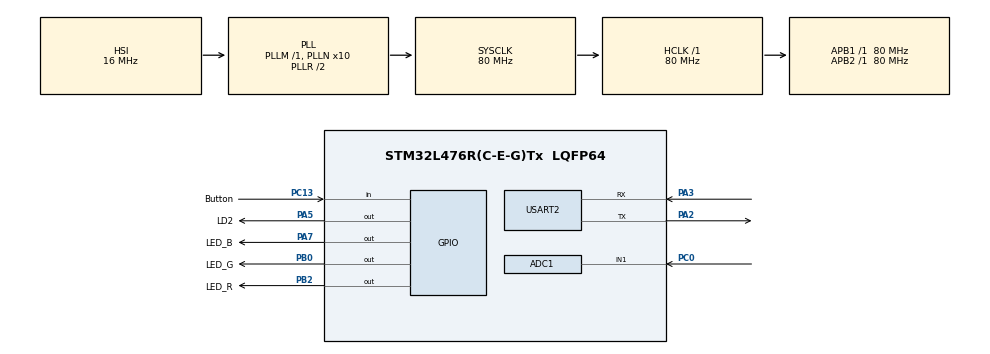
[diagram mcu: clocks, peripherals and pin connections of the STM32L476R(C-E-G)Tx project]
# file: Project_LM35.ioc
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ADC1.Channel-1\#ChannelRegularConversion=ADC_CHANNEL_1
ADC1.ContinuousConvMode=ENABLE
ADC1.NbrOfConversionFlag=1
ADC1.OffsetNumber-1\#ChannelRegularConversion=ADC_OFFSET_NONE
ADC1.Overrun=ADC_OVR_DATA_OVERWRITTEN
ADC1.Rank-1\#ChannelRegularConversion=1
ADC1.SamplingTime-1\#ChannelRegularConversion=ADC_SAMPLETIME_2CYCLES_5
ADC1.master=1
Mcu.Family=STM32L4
Mcu.Name=STM32L476R(C-E-G)Tx
Mcu.Package=LQFP64
NVIC.PriorityGroup=NVIC_PRIORITYGROUP_4
PA2.Mode=Asynchronous
PA2.Signal=USART2_TX
PA3.Mode=Asynchronous
PA3.Signal=USART2_RX
PA5.GPIO_Label=LD2
PA5.Signal=GPIO_Output
PA7.GPIO_Label=LED_B
PA7.Signal=GPIO_Output
PB0.GPIO_Label=LED_G
PB0.Signal=GPIO_Output
PB2.GPIO_Label=LED_R
PB2.Signal=GPIO_Output
PC0.Signal=ADCx_IN1
PC13.GPIO_Label=Button
PC13.Signal=GPIO_Input
ProjectManager.HeapSize=0x200
ProjectManager.StackSize=0x400
ProjectManager.TargetToolchain=STM32CubeIDE
RCC.ADCFreq_Value=32000000
RCC.AHBFreq_Value=80000000
RCC.APB1Freq_Value=80000000
RCC.APB1TimFreq_Value=80000000
RCC.APB2Freq_Value=80000000
RCC.APB2TimFreq_Value=80000000
RCC.CortexFreq_Value=80000000
RCC.HCLKFreq_Value=80000000
RCC.HSE_VALUE=8000000
RCC.HSI_VALUE=16000000
RCC.LSE_VALUE=32768
RCC.MSI_VALUE=4000000
RCC.PLLN=10
RCC.PLLSAI1R=RCC_PLLR_DIV4
RCC.PLLSourceVirtual=RCC_PLLSOURCE_HSI
RCC.PREFETCH_ENABLE=1
RCC.SYSCLKFreq_VALUE=80000000
RCC.SYSCLKSource=RCC_SYSCLKSOURCE_PLLCLK
RCC.USBFreq_Value=64000000
RCC.VCOOutputFreq_Value=160000000
SH.ADCx_IN1.0=ADC1_IN1,IN1-Single-Ended
USART2.VirtualMode-Asynchronous=VM_ASYNC
board=NUCLEO-L476RG

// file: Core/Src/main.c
/* USER CODE BEGIN Header */
/**
  ******************************************************************************
  * @file           : main.c
  * @brief          : Main program body
  ******************************************************************************
  * @attention
  *
  * Copyright (c) 2024 STMicroelectronics.
  * All rights reserved.
  *
  * This software is licensed under terms that can be found in the LICENSE file
  * in the root directory of this software component.
  * If no LICENSE file comes with this software, it is provided AS-IS.
  *
  ******************************************************************************
  */
/* USER CODE END Header */
#include "main.h"

/* USER CODE BEGIN Includes */
#include <stdio.h>
/* USER CODE END Includes */

ADC_HandleTypeDef hadc1;

UART_HandleTypeDef huart2;

void SystemClock_Config(void);
static void MX_GPIO_Init(void);
static void MX_ADC1_Init(void);
static void MX_USART2_UART_Init(void);

/* USER CODE BEGIN 0 */
int __io_putchar(int ch)
{
  if (ch == '\n') {
    __io_putchar('\r');
  }

  HAL_UART_Transmit(&huart2, (uint8_t*)&ch, 1, HAL_MAX_DELAY);

  return 1;
}

void light_info(int tmp){
	if(tmp < 20){
		HAL_GPIO_WritePin(LED_B_GPIO_Port, LED_B_Pin, GPIO_PIN_SET);
		HAL_GPIO_WritePin(LED_G_GPIO_Port, LED_G_Pin, GPIO_PIN_RESET);
		HAL_GPIO_WritePin(LED_R_GPIO_Port, LED_R_Pin, GPIO_PIN_RESET);
	}
	if(tmp < 22 && tmp >= 20){
		HAL_GPIO_WritePin(LED_B_GPIO_Port, LED_B_Pin, GPIO_PIN_RESET);
		HAL_GPIO_WritePin(LED_G_GPIO_Port, LED_G_Pin, GPIO_PIN_SET);
		HAL_GPIO_WritePin(LED_R_GPIO_Port, LED_R_Pin, GPIO_PIN_RESET);
	}
	if(tmp >= 22){
		HAL_GPIO_WritePin(LED_B_GPIO_Port, LED_B_Pin, GPIO_PIN_RESET);
		HAL_GPIO_WritePin(LED_G_GPIO_Port, LED_G_Pin, GPIO_PIN_RESET);
		HAL_GPIO_WritePin(LED_R_GPIO_Port, LED_R_Pin, GPIO_PIN_SET);
	}

}
/* USER CODE END 0 */

int main(void)
{

  /* MCU Configuration--------------------------------------------------------*/

  /* Reset of all peripherals, Initializes the Flash interface and the Systick. */
  HAL_Init();

  /* Configure the system clock */
  SystemClock_Config();

  /* Initialize all configured peripherals */
  MX_GPIO_Init();
  MX_ADC1_Init();
  MX_USART2_UART_Init();
  /* USER CODE BEGIN 2 */
  HAL_ADCEx_Calibration_Start(&hadc1, ADC_SINGLE_ENDED);
  HAL_ADC_Start(&hadc1);
  /* USER CODE END 2 */

  /* Infinite loop */
  /* USER CODE BEGIN WHILE */
  while (1)
  {
	  HAL_ADC_Start(&hadc1);
	  HAL_ADC_PollForConversion(&hadc1, HAL_MAX_DELAY);

	  uint32_t value = HAL_ADC_GetValue(&hadc1);
	  float voltage = 3.3f * value / 4096.0f;
	  float temp = (voltage*1000)/10.24;
	  //printf("ADC = %lu (%.3f V)\n", value, voltage);
	  printf("Temperature: (%.2f C)\n", temp);
	  light_info(temp);
	  HAL_Delay(2000);
    /* USER CODE END WHILE */

  }
}

void SystemClock_Config(void)
{
  RCC_OscInitTypeDef RCC_OscInitStruct = {0};
  RCC_ClkInitTypeDef RCC_ClkInitStruct = {0};

  /** Configure the main internal regulator output voltage
  */
  if (HAL_PWREx_ControlVoltageScaling(PWR_REGULATOR_VOLTAGE_SCALE1) != HAL_OK)
  {
    Error_Handler();
  }

  /** Initializes the RCC Oscillators according to the specified parameters
  * in the RCC_OscInitTypeDef structure.
  */
  RCC_OscInitStruct.OscillatorType = RCC_OSCILLATORTYPE_HSI;
  RCC_OscInitStruct.HSIState = RCC_HSI_ON;
  RCC_OscInitStruct.HSICalibrationValue = RCC_HSICALIBRATION_DEFAULT;
  RCC_OscInitStruct.PLL.PLLState = RCC_PLL_ON;
  RCC_OscInitStruct.PLL.PLLSource = RCC_PLLSOURCE_HSI;
  RCC_OscInitStruct.PLL.PLLM = 1;
  RCC_OscInitStruct.PLL.PLLN = 10;
  RCC_OscInitStruct.PLL.PLLP = RCC_PLLP_DIV7;
  RCC_OscInitStruct.PLL.PLLQ = RCC_PLLQ_DIV2;
  RCC_OscInitStruct.PLL.PLLR = RCC_PLLR_DIV2;
  if (HAL_RCC_OscConfig(&RCC_OscInitStruct) != HAL_OK)
  {
    Error_Handler();
  }

  /** Initializes the CPU, AHB and APB buses clocks
  */
  RCC_ClkInitStruct.ClockType = RCC_CLOCKTYPE_HCLK|RCC_CLOCKTYPE_SYSCLK
                              |RCC_CLOCKTYPE_PCLK1|RCC_CLOCKTYPE_PCLK2;
  RCC_ClkInitStruct.SYSCLKSource = RCC_SYSCLKSOURCE_PLLCLK;
  RCC_ClkInitStruct.AHBCLKDivider = RCC_SYSCLK_DIV1;
  RCC_ClkInitStruct.APB1CLKDivider = RCC_HCLK_DIV1;
  RCC_ClkInitStruct.APB2CLKDivider = RCC_HCLK_DIV1;

  if (HAL_RCC_ClockConfig(&RCC_ClkInitStruct, FLASH_LATENCY_4) != HAL_OK)
  {
    Error_Handler();
  }
}

static void MX_ADC1_Init(void)
{

  ADC_MultiModeTypeDef multimode = {0};
  ADC_ChannelConfTypeDef sConfig = {0};

  /** Common config
  */
  hadc1.Instance = ADC1;
  hadc1.Init.ClockPrescaler = ADC_CLOCK_ASYNC_DIV1;
  hadc1.Init.Resolution = ADC_RESOLUTION_12B;
  hadc1.Init.DataAlign = ADC_DATAALIGN_RIGHT;
  hadc1.Init.ScanConvMode = ADC_SCAN_DISABLE;
  hadc1.Init.EOCSelection = ADC_EOC_SINGLE_CONV;
  hadc1.Init.LowPowerAutoWait = DISABLE;
  hadc1.Init.ContinuousConvMode = ENABLE;
  hadc1.Init.NbrOfConversion = 1;
  hadc1.Init.DiscontinuousConvMode = DISABLE;
  hadc1.Init.ExternalTrigConv = ADC_SOFTWARE_START;
  hadc1.Init.ExternalTrigConvEdge = ADC_EXTERNALTRIGCONVEDGE_NONE;
  hadc1.Init.DMAContinuousRequests = DISABLE;
  hadc1.Init.Overrun = ADC_OVR_DATA_OVERWRITTEN;
  hadc1.Init.OversamplingMode = DISABLE;
  if (HAL_ADC_Init(&hadc1) != HAL_OK)
  {
    Error_Handler();
  }

  /** Configure the ADC multi-mode
  */
  multimode.Mode = ADC_MODE_INDEPENDENT;
  if (HAL_ADCEx_MultiModeConfigChannel(&hadc1, &multimode) != HAL_OK)
  {
    Error_Handler();
  }

  /** Configure Regular Channel
  */
  sConfig.Channel = ADC_CHANNEL_1;
  sConfig.Rank = ADC_REGULAR_RANK_1;
  sConfig.SamplingTime = ADC_SAMPLETIME_2CYCLES_5;
  sConfig.SingleDiff = ADC_SINGLE_ENDED;
  sConfig.OffsetNumber = ADC_OFFSET_NONE;
  sConfig.Offset = 0;
  if (HAL_ADC_ConfigChannel(&hadc1, &sConfig) != HAL_OK)
  {
    Error_Handler();
  }

}

static void MX_USART2_UART_Init(void)
{

  huart2.Instance = USART2;
  huart2.Init.BaudRate = 115200;
  huart2.Init.WordLength = UART_WORDLENGTH_8B;
  huart2.Init.StopBits = UART_STOPBITS_1;
  huart2.Init.Parity = UART_PARITY_NONE;
  huart2.Init.Mode = UART_MODE_TX_RX;
  huart2.Init.HwFlowCtl = UART_HWCONTROL_NONE;
  huart2.Init.OverSampling = UART_OVERSAMPLING_16;
  huart2.Init.OneBitSampling = UART_ONE_BIT_SAMPLE_DISABLE;
  huart2.AdvancedInit.AdvFeatureInit = UART_ADVFEATURE_NO_INIT;
  if (HAL_UART_Init(&huart2) != HAL_OK)
  {
    Error_Handler();
  }

}

static void MX_GPIO_Init(void)
{
  GPIO_InitTypeDef GPIO_InitStruct = {0};

  /* GPIO Ports Clock Enable */
  __HAL_RCC_GPIOC_CLK_ENABLE();
  __HAL_RCC_GPIOA_CLK_ENABLE();
  __HAL_RCC_GPIOB_CLK_ENABLE();

  /*Configure GPIO pin Output Level */
  HAL_GPIO_WritePin(GPIOA, LD2_Pin|LED_B_Pin, GPIO_PIN_RESET);

  /*Configure GPIO pin Output Level */
  HAL_GPIO_WritePin(GPIOB, LED_G_Pin|LED_R_Pin, GPIO_PIN_RESET);

  /*Configure GPIO pin : Button_Pin */
  GPIO_InitStruct.Pin = Button_Pin;
  GPIO_InitStruct.Mode = GPIO_MODE_INPUT;
  GPIO_InitStruct.Pull = GPIO_NOPULL;
  HAL_GPIO_Init(Button_GPIO_Port, &GPIO_InitStruct);

  /*Configure GPIO pins : LD2_Pin LED_B_Pin */
  GPIO_InitStruct.Pin = LD2_Pin|LED_B_Pin;
  GPIO_InitStruct.Mode = GPIO_MODE_OUTPUT_PP;
  GPIO_InitStruct.Pull = GPIO_NOPULL;
  GPIO_InitStruct.Speed = GPIO_SPEED_FREQ_LOW;
  HAL_GPIO_Init(GPIOA, &GPIO_InitStruct);

  /*Configure GPIO pins : LED_G_Pin LED_R_Pin */
  GPIO_InitStruct.Pin = LED_G_Pin|LED_R_Pin;
  GPIO_InitStruct.Mode = GPIO_MODE_OUTPUT_PP;
  GPIO_InitStruct.Pull = GPIO_NOPULL;
  GPIO_InitStruct.Speed = GPIO_SPEED_FREQ_LOW;
  HAL_GPIO_Init(GPIOB, &GPIO_InitStruct);

}

void Error_Handler(void)
{
  __disable_irq();
  while (1)
  {
  }
}
